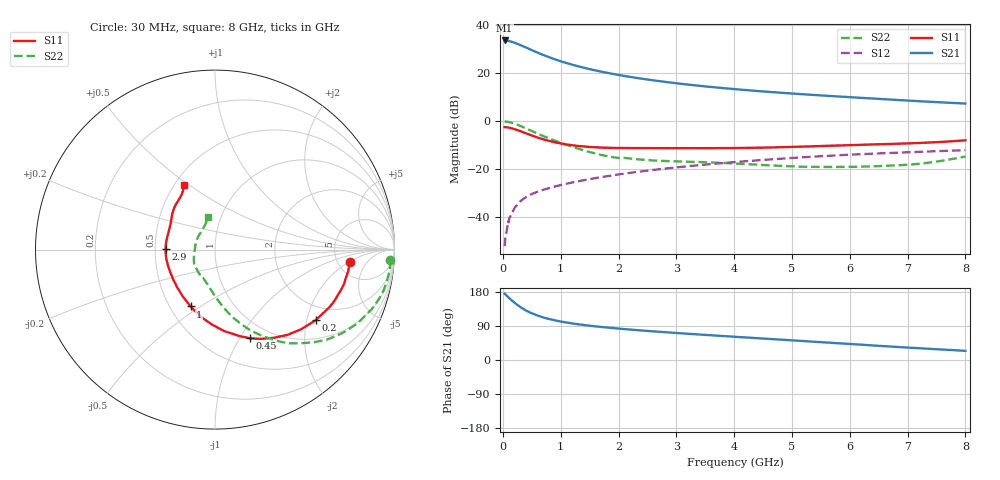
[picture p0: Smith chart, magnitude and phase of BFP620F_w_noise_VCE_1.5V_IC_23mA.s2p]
! Infineon Technologies  Discrete & RF Semiconductors
! BFP620F
! VCE =  1.5 V,  IC =  23 mA
! Common Emitter S-Parameters:  Dec 2014
# GHz  S  MA  R  50
!  f  S11  S21  S12  S22
! GHz  MAG  ANG  MAG  ANG  MAG  ANG  MAG  ANG
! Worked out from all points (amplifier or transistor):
!   95 points, 30 MHz to 8 GHz, reference 50 ohm
!   highest |S21| = 33.6 dB at 30 MHz (marker M1)
!   |S21| within 3 dB of that: start of sweep to 406.1 MHz
!   unconditionally stable (mu >= 1): 2.809 GHz to end of sweep
!   at 300 MHz: K = 0.31, MSG = 32.6 dB, |S12| = -33.4 dB
!   at 3.3 GHz: K = 1.02, MAG = 16.0 dB, |S12| = -18.5 dB
!   at 8 GHz: K = 1.06, MAG = 8.2 dB, |S12| = -12.1 dB
!   lowest NFmin = 0.94 dB at 450 MHz
!   S11 on the Smith chart (normalised r, x): 30 MHz: 6.42, -2.11; 200 MHz: 1.53, -2.27; 450 MHz: 0.81, -1.11; 1 GHz: 0.63, -0.46; 2.9 GHz: 0.57, +0.01; 8 GHz: 0.56, +0.48
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0.03  0.7539 -5.4  48.04 175.3  0.0025 99.0  0.9765 -3.5
0.07  0.7453 -12.7  47.62 169.3  0.0056 85.2  0.9747 -9.5
0.11  0.7304 -20.0  46.49 163.3  0.0093 82.9  0.9591 -15.4
0.15  0.7129 -26.9  45.2 157.8  0.0115 76.5  0.9331 -21.0
0.2  0.6853 -35.0  43.1 151.4  0.0155 76.1  0.8933 -27.5
0.25  0.654 -42.7  40.96 145.4  0.0183 71.8  0.8482 -33.3
0.3  0.6231 -49.8  38.69 140.0  0.0214 69.5  0.8012 -38.7
0.4  0.5589 -62.9  34.28 130.7  0.0261 66.1  0.7067 -47.6
0.45  0.5322 -68.3  32.17 126.9  0.0285 64.9  0.6661 -51.6
0.6  0.4572 -83.5  26.81 117.3  0.0341 62.2  0.5514 -61.1
0.7  0.4192 -92.0  23.94 112.3  0.0374 61.3  0.4905 -66.4
0.8  0.3895 -99.7  21.49 108.2  0.0404 60.6  0.4383 -70.8
1  0.3448 -113.3  17.75 101.6  0.0468 60.3  0.3556 -78.5
1.2  0.3161 -124.9  15.04 96.5  0.053 60.1  0.2942 -85.2
1.4  0.2984 -135.0  13.01 92.4  0.0591 60.0  0.2473 -91.8
2  0.2769 -158.6  9.201 82.9  0.0778 59.2  0.1715 -112.5
2.7  0.2753 -176.9  6.849 74.5  0.0997 56.7  0.1501 -132.0
2.9  0.2751 179.0  6.382 72.4  0.1059 55.8  0.1471 -136.1
4.1  0.2773 158.3  4.558 60.4  0.1438 49.7  0.1299 -155.1
5.4  0.3013 143.1  3.509 48.0  0.1835 41.5  0.1121 175.5
6.7  0.336 129.3  2.824 35.6  0.2182 32.1  0.119 140.3
8  0.3998 115.5  2.331 24.2  0.2493 23.1  0.1834 101.8
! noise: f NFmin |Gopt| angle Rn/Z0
0.45  0.94  0.04  2  0.2
0.9  0.98  0.02  6  0.17
1.5  1  0.01  -9  0.15
1.8  1.02  0.01  -17  0.16
1.9  1.02  0  51  0.16
2.4  1.05  0.03  -153  0.15
3.5  1.13  0.06  -161  0.15
5.5  1.28  0.17  234  0.11
6  1.32  0.16  256  0.14
